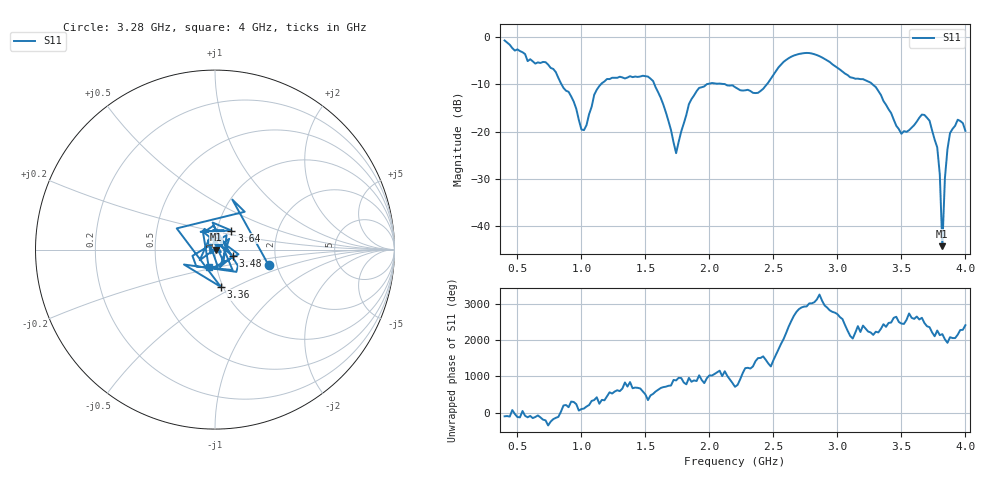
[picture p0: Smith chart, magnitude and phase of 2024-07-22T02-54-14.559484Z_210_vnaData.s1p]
!Created with skrf (http://scikit-rf.org).
# Hz S RI R 50.0
!freq ReS11 ImS11
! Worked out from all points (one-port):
!   181 points, 400 MHz to 4 GHz, reference 50 ohm
!   lowest |S11| = -44.2 dB at 3.82 GHz (marker M1), VSWR 1.01, Z = 50.6 + j0.0393 ohm
!   |S11| at or under -10 dB: 1.57 GHz to 1.979 GHz (409.1 MHz wide, 23.1 % of centre); 2.122 GHz to 2.449 GHz (327.2 MHz wide, 14.3 % of centre); 3.274 GHz to end of sweep (the widest 3 of 4)
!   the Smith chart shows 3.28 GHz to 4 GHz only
!   S11 on the Smith chart (normalised r, x): 3.28 GHz: 1.81, -0.34; 3.36 GHz: 0.98, -0.42; 3.48 GHz: 1.22, -0.09; 3.64 GHz: 1.17, +0.25; 4 GHz: 0.92, -0.18
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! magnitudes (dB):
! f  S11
! 400 MHz  -0.8
! 720 MHz  -5.3
! 860 MHz  -10.8
! 1.02 GHz  -19.7
! 1.12 GHz  -11.2
! 1.3 GHz  -8.4
! 1.56 GHz  -9.3
! 1.74 GHz  -24.5
! 1.76 GHz  -22.1
! 1.84 GHz  -14.2
! 1.92 GHz  -10.8
! 2.2 GHz  -10.6
! 2.38 GHz  -11.8
! 2.66 GHz  -3.9
! 3.1 GHz  -8.5
! 3.28 GHz  -10.2
! 3.36 GHz  -13.5
! 3.48 GHz  -19.5
! 3.56 GHz  -19.7
! 3.64 GHz  -17.1
! 3.72 GHz  -17.7
! 3.78 GHz  -23.3
! 3.8 GHz  -29.0
! 3.82 GHz  -44.2
! 3.84 GHz  -29.8
! 3.88 GHz  -20.3
! 3.94 GHz  -17.5
! 4 GHz  -19.8
